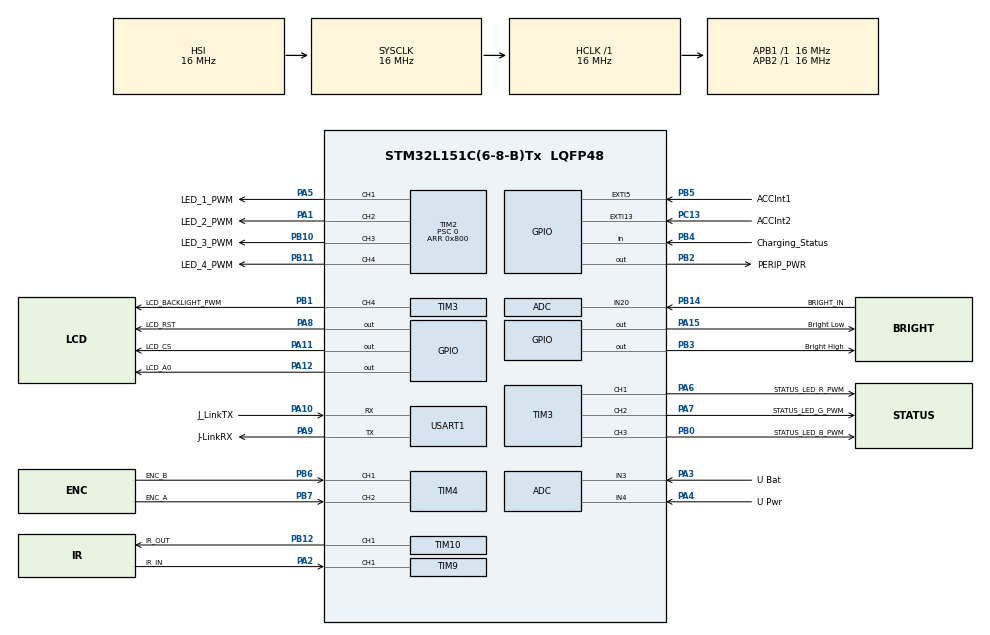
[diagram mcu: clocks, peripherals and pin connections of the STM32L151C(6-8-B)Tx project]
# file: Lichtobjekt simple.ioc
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Mcu.Family=STM32L1
PB10.GPIO_Speed=GPIO_SPEED_FREQ_MEDIUM
Dma.ADC.0.Mode=DMA_CIRCULAR
PA10.GPIO_PuPd=GPIO_PULLDOWN
ADC.Rank-0\#ChannelRegularConversion=1
PB14.GPIO_Label=BRIGHT_IN
PA14.GPIO_Label=SWCLK
Dma.ADC.0.Priority=DMA_PRIORITY_LOW
ADC.ScanConvMode=ADC_SCAN_ENABLE
PA6.GPIO_Label=STATUS_LED_R_PWM
PB0.GPIO_Label=STATUS_LED_B_PWM
PB6.GPIO_Label=ENC_B
TIM2.Channel-PWM\ Generation2\ CH2=TIM_CHANNEL_2
PB13.GPIO_Label=LCD_SCK
PB11.Signal=S_TIM2_CH4
PB13.Signal=SPI2_SCK
PB15.Signal=SPI2_MOSI
TIM3.Channel-PWM\ Generation4\ CH4=TIM_CHANNEL_4
RCC.SYSCLKSource=RCC_SYSCLKSOURCE_HSI
ProjectManager.StackSize=0x400
PB11.GPIO_Speed=GPIO_SPEED_FREQ_MEDIUM
PC13-WKUP2.GPIO_PuPd=GPIO_PULLUP
ADC.NbrOfConversion=1
NVIC.TIM11_IRQn=true\:0\:0\:false\:false\:true\:true\:true
PA15.GPIO_Label=Bright Low
PA12.Signal=GPIO_Output
PA4.Mode=IN4
Dma.ADC.0.PeriphInc=DMA_PINC_DISABLE
RCC.HCLKFreq_Value=16000000
PC13-WKUP2.GPIO_Label=ACCInt2
RCC.APB2TimFreq_Value=16000000
PB6.Signal=S_TIM4_CH1
VP_TIM10_VS_ClockSourceINT.Mode=Internal
RCC.AHBFreq_Value=16000000
Dma.ADC.0.Direction=DMA_PERIPH_TO_MEMORY
TIM3.Channel-PWM\ Generation1\ CH1=TIM_CHANNEL_1
RCC.HSE_VALUE=24000000
PC13-WKUP2.Signal=GPXTI13
PB2.Signal=GPIO_Output
TIM10.Channel=TIM_CHANNEL_1
RCC.RTCClockSelection=RCC_RTCCLKSOURCE_LSE
PB12.GPIO_Label=IR_OUT
PA6.GPIO_PuPd=GPIO_NOPULL
RCC.RTCClockSelectionVirtual=RCC_RTCCLKSOURCE_LSE
PA14.Mode=Serial_Wire
PB14.Mode=IN20
PB1.GPIO_Label=LCD_BACKLIGHT_PWM
PA10.GPIO_Label=J_LinkTX
SH.S_TIM4_CH2.0=TIM4_CH2,Encoder_Interface
PB7.Signal=S_TIM4_CH2
PA8.Signal=GPIO_Output
TIM2.Channel-PWM\ Generation1\ CH1=TIM_CHANNEL_1
SH.S_TIM3_CH1.0=TIM3_CH1,PWM Generation1 CH1
TIM6.Period=3556
Dma.ADC.0.MemInc=DMA_MINC_ENABLE
PB7.GPIO_Label=ENC_A
Mcu.Package=LQFP48
PB9.Signal=I2C1_SDA
TIM2.Prescaler=0
PB1.Signal=S_TIM3_CH4
PA6.Signal=S_TIM3_CH1
SH.S_TIM10_CH1.0=TIM10_CH1,PWM Generation1 CH1
PA2.GPIO_Label=IR_IN
Dma.ADC.0.Instance=DMA1_Channel1
PA10.Signal=USART1_RX
ADC.Channel-0\#ChannelRegularConversion=ADC_CHANNEL_TEMPSENSOR
PA15.Signal=GPIO_Output
Dma.ADC.0.MemDataAlignment=DMA_MDATAALIGN_HALFWORD
PB5.GPIO_Label=ACCInt1
SH.S_TIM4_CH1.0=TIM4_CH1,Encoder_Interface
RCC.APB1TimFreq_Value=16000000
NVIC.USART1_IRQn=true\:0\:0\:false\:false\:true\:true\:true
Dma.Request0=ADC
PA4.GPIO_Label=U Pwr
PA8.GPIO_Speed=GPIO_SPEED_FREQ_LOW
PA8.PinState=GPIO_PIN_RESET
PB4.Signal=GPIO_Input
PA3.Signal=ADC_IN3
PB3.GPIO_Label=Bright High
RCC.MSI_VALUE=2097000
PB7.GPIO_PuPd=GPIO_PULLUP
TIM2.Channel-PWM\ Generation4\ CH4=TIM_CHANNEL_4
PC13-WKUP2.GPIO_ModeDefaultEXTI=GPIO_MODE_IT_RISING
PA10.Mode=Asynchronous
VP_ADC_TempSens_Input.Mode=IN-TempSens
PA9.GPIO_Label=J-LinkRX
PB6.GPIO_PuPd=GPIO_PULLUP
VP_TIM6_VS_ClockSourceINT.Mode=Enable_Timer
PB11.GPIO_Label=LED_4_PWM
PA11.GPIO_Label=LCD_CS
ADC.LowPowerAutoWait=ADC_AUTOWAIT_DISABLE
TIM11.Prescaler=100
PC14-OSC32_IN.Signal=RCC_OSC32_IN
SH.S_TIM3_CH3.0=TIM3_CH3,PWM Generation3 CH3
PA12.GPIO_Label=LCD_A0
VP_TIM11_VS_ClockSourceINT.Mode=Internal
Dma.ADC.0.PeriphDataAlignment=DMA_PDATAALIGN_HALFWORD
NVIC.TIM6_IRQn=true\:0\:0\:false\:false\:true\:true\:true
PA3.Mode=IN3
PA13.Signal=SYS_JTMS-SWDIO
TIM3.Channel-PWM\ Generation3\ CH3=TIM_CHANNEL_3
SH.S_TIM2_CH2.0=TIM2_CH2,PWM Generation2 CH2
PA9.Mode=Asynchronous
PA8.GPIO_Label=LCD_RST
ProjectManager.TargetToolchain=STM32CubeIDE
PB10.GPIO_Label=LED_3_PWM
PA9.Signal=USART1_TX
PA0-WKUP1.Signal=SYS_WKUP1
ADC.NbrOfConversionFlag=1
PC15-OSC32_OUT.Signal=RCC_OSC32_OUT
PA1.Signal=S_TIM2_CH2
PA7.GPIO_PuPd=GPIO_NOPULL
PB12.GPIO_Speed=GPIO_SPEED_FREQ_HIGH
PB10.Signal=S_TIM2_CH3
PB14.Signal=ADC_IN20
PA5.Signal=S_TIM2_CH1_ETR
SH.S_TIM3_CH2.0=TIM3_CH2,PWM Generation2 CH2
board=Lichtobjekt
RCC.VCOOutputFreq_Value=48000000
VP_TIM9_VS_ClockSourceINT.Mode=Internal
TIM11.Period=1600
RCC.APB2Freq_Value=16000000
PB4.GPIO_Label=Charging_Status
PB15.GPIO_Label=LCD_MOSI
VP_TIM2_VS_ClockSourceINT.Mode=Internal
SH.S_TIM2_CH3.0=TIM2_CH3,PWM Generation3 CH3
PA1.GPIO_Speed=GPIO_SPEED_FREQ_MEDIUM
PA1.GPIO_Label=LED_2_PWM
SH.S_TIM9_CH1.0=TIM9_CH1,PWM_Input_1
TIM2.Channel-PWM\ Generation3\ CH3=TIM_CHANNEL_3
PA0-WKUP1.Mode=SYS_WakeUp0
TIM2.Period=0x800
PA13.Mode=Serial_Wire
Mcu.Name=STM32L151C(6-8-B)Tx
PA2.Signal=S_TIM9_CH1
PA13.GPIO_Label=SWDIO
PB3.Signal=GPIO_Output
PA4.Signal=ADC_IN4
RCC.SYSCLKFreq_VALUE=16000000
PB5.Signal=GPXTI5
PA7.GPIO_Label=STATUS_LED_G_PWM
PA5.GPIO_Label=LED_1_PWM
PB5.GPIO_PuPd=GPIO_PULLUP
USART1.VirtualMode=VM_ASYNC
PA11.Signal=GPIO_Output
SH.S_TIM2_CH1_ETR.0=TIM2_CH1,PWM Generation1 CH1
PA14.Signal=SYS_JTCK-SWCLK
PB2.GPIO_Label=PERIP_PWR
PA0-WKUP1.GPIO_Label=ENC_SW
ProjectManager.HeapSize=0x200
SH.S_TIM2_CH4.0=TIM2_CH4,PWM Generation4 CH4
RCC.HSI_VALUE=16000000
PA5.GPIO_Speed=GPIO_SPEED_FREQ_MEDIUM
NVIC.PriorityGroup=NVIC_PRIORITYGROUP_4
TIM3.Channel-PWM\ Generation2\ CH2=TIM_CHANNEL_2
PB8.Signal=I2C1_SCL
TIM2.AutoReloadPreload=TIM_AUTORELOAD_PRELOAD_ENABLE
ADC.SamplingTime-0\#ChannelRegularConversion=ADC_SAMPLETIME_4CYCLES
NVIC.DMA1_Channel1_IRQn=true\:0\:0\:false\:false\:true\:false\:true
PB12.GPIO_PuPd=GPIO_PULLDOWN
RCC.APB1Freq_Value=16000000
PB0.Signal=S_TIM3_CH3
ADC.ContinuousConvMode=ENABLE
PB12.Signal=S_TIM10_CH1
PA3.GPIO_Label=U Bat
SH.S_TIM3_CH4.0=TIM3_CH4,PWM Generation4 CH4
PA7.Signal=S_TIM3_CH2

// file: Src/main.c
/* USER CODE BEGIN Header */
/**
  ******************************************************************************
  * @file           : main.c
  * @brief          : Main program body
  ******************************************************************************
  * @attention
  *
  * <h2><center>&copy; Copyright (c) 2019 STMicroelectronics.
  * All rights reserved.</center></h2>
  *
  * This software component is licensed by ST under BSD 3-Clause license,
  * the "License"; You may not use this file except in compliance with the
  * License. You may obtain a copy of the License at:
  *                        opensource.org/licenses/BSD-3-Clause
  *
  ******************************************************************************
  */
/* USER CODE END Header */
#include "main.h"

ADC_HandleTypeDef hadc;
DMA_HandleTypeDef hdma_adc;

TIM_HandleTypeDef htim2;
TIM_HandleTypeDef htim3;
TIM_HandleTypeDef htim4;
TIM_HandleTypeDef htim6;
TIM_HandleTypeDef htim9;
TIM_HandleTypeDef htim10;
TIM_HandleTypeDef htim11;

UART_HandleTypeDef huart1;

/* USER CODE BEGIN PV */
bool volatile TimerFlag;
/* USER CODE END PV */

void SystemClock_Config(void);
static void MX_GPIO_Init(void);
static void MX_DMA_Init(void);
static void MX_TIM2_Init(void);
static void MX_TIM3_Init(void);
static void MX_TIM4_Init(void);
static void MX_TIM9_Init(void);
static void MX_TIM10_Init(void);
static void MX_ADC_Init(void);
static void MX_USART1_UART_Init(void);
static void MX_TIM6_Init(void);
static void MX_TIM11_Init(void);

int main(void)
{

  /* MCU Configuration--------------------------------------------------------*/

  /* Reset of all peripherals, Initializes the Flash interface and the Systick. */
  HAL_Init();

  /* Configure the system clock */
  SystemClock_Config();

  /* Initialize all configured peripherals */
  MX_GPIO_Init();
  MX_DMA_Init();
  MX_TIM2_Init();
  MX_TIM3_Init();
  MX_TIM4_Init();
  MX_TIM9_Init();
  MX_TIM10_Init();
  MX_ADC_Init();
  MX_USART1_UART_Init();
  MX_TIM6_Init();
  MX_TIM11_Init();
  /* USER CODE BEGIN 2 */
//load RAM values from EEPROM
//	ReceiverMode=Read_EEPROM(EEAddr_ReceiverMode);
//	SenderMode=Read_EEPROM(EEAddr_SenderMode);
  RC5Addr=0; //Read_EEPROM(EEAddr_RC5Addr);
  HAL_GPIO_WritePin(PERIP_PWR_GPIO_Port, PERIP_PWR_Pin, GPIO_PIN_SET);

  PWM_Init(&htim2);
  Init_SerialLogger(&huart1);
  Status_LED_Init(&htim3);
  Encoder_Init(&htim4);
  Init_MainMenu();

  /*##-1- Start the TIM Base generation in interrupt mode ####################*/
  HAL_TIM_Base_Start_IT(&htim6);  //RC5 decoder
  HAL_TIM_Base_Start_IT(&htim11); //main control loop

  log_serial_P("Bereit\r\n");
  SwAllLightOn();
  /* USER CODE END 2 */

  /* Infinite loop */
  /* USER CODE BEGIN WHILE */
  while (1)
  {
	if(TimerFlag)
	{
		TimerFlag=0;
		Keys(!HAL_GPIO_ReadPin(ENC_SW_GPIO_Port, ENC_SW_Pin));
		Encoder();
       	MainMenu();
	}
    HAL_PWR_EnterSLEEPMode(PWR_MAINREGULATOR_ON, PWR_SLEEPENTRY_WFI);
  }
    /* USER CODE END WHILE */

}

void SystemClock_Config(void)
{
  RCC_OscInitTypeDef RCC_OscInitStruct = {0};
  RCC_ClkInitTypeDef RCC_ClkInitStruct = {0};

  /** Configure the main internal regulator output voltage
  */
  __HAL_PWR_VOLTAGESCALING_CONFIG(PWR_REGULATOR_VOLTAGE_SCALE1);
  /** Initializes the RCC Oscillators according to the specified parameters
  * in the RCC_OscInitTypeDef structure.
  */
  RCC_OscInitStruct.OscillatorType = RCC_OSCILLATORTYPE_HSI;
  RCC_OscInitStruct.HSIState = RCC_HSI_ON;
  RCC_OscInitStruct.HSICalibrationValue = RCC_HSICALIBRATION_DEFAULT;
  RCC_OscInitStruct.PLL.PLLState = RCC_PLL_NONE;
  if (HAL_RCC_OscConfig(&RCC_OscInitStruct) != HAL_OK)
  {
    Error_Handler();
  }
  /** Initializes the CPU, AHB and APB buses clocks
  */
  RCC_ClkInitStruct.ClockType = RCC_CLOCKTYPE_HCLK|RCC_CLOCKTYPE_SYSCLK
                              |RCC_CLOCKTYPE_PCLK1|RCC_CLOCKTYPE_PCLK2;
  RCC_ClkInitStruct.SYSCLKSource = RCC_SYSCLKSOURCE_HSI;
  RCC_ClkInitStruct.AHBCLKDivider = RCC_SYSCLK_DIV1;
  RCC_ClkInitStruct.APB1CLKDivider = RCC_HCLK_DIV1;
  RCC_ClkInitStruct.APB2CLKDivider = RCC_HCLK_DIV1;

  if (HAL_RCC_ClockConfig(&RCC_ClkInitStruct, FLASH_LATENCY_0) != HAL_OK)
  {
    Error_Handler();
  }
}

static void MX_ADC_Init(void)
{

  ADC_ChannelConfTypeDef sConfig = {0};

  /** Configure the global features of the ADC (Clock, Resolution, Data Alignment and number of conversion)
  */
  hadc.Instance = ADC1;
  hadc.Init.ClockPrescaler = ADC_CLOCK_ASYNC_DIV1;
  hadc.Init.Resolution = ADC_RESOLUTION_12B;
  hadc.Init.DataAlign = ADC_DATAALIGN_RIGHT;
  hadc.Init.ScanConvMode = ADC_SCAN_ENABLE;
  hadc.Init.EOCSelection = ADC_EOC_SEQ_CONV;
  hadc.Init.LowPowerAutoWait = ADC_AUTOWAIT_DISABLE;
  hadc.Init.LowPowerAutoPowerOff = ADC_AUTOPOWEROFF_DISABLE;
  hadc.Init.ChannelsBank = ADC_CHANNELS_BANK_A;
  hadc.Init.ContinuousConvMode = ENABLE;
  hadc.Init.NbrOfConversion = 1;
  hadc.Init.DiscontinuousConvMode = DISABLE;
  hadc.Init.ExternalTrigConv = ADC_SOFTWARE_START;
  hadc.Init.ExternalTrigConvEdge = ADC_EXTERNALTRIGCONVEDGE_NONE;
  hadc.Init.DMAContinuousRequests = DISABLE;
  if (HAL_ADC_Init(&hadc) != HAL_OK)
  {
    Error_Handler();
  }
  /** Configure for the selected ADC regular channel its corresponding rank in the sequencer and its sample time.
  */
  sConfig.Channel = ADC_CHANNEL_TEMPSENSOR;
  sConfig.Rank = ADC_REGULAR_RANK_1;
  sConfig.SamplingTime = ADC_SAMPLETIME_4CYCLES;
  if (HAL_ADC_ConfigChannel(&hadc, &sConfig) != HAL_OK)
  {
    Error_Handler();
  }

}

static void MX_TIM2_Init(void)
{

  TIM_ClockConfigTypeDef sClockSourceConfig = {0};
  TIM_MasterConfigTypeDef sMasterConfig = {0};
  TIM_OC_InitTypeDef sConfigOC = {0};

  htim2.Instance = TIM2;
  htim2.Init.Prescaler = 0;
  htim2.Init.CounterMode = TIM_COUNTERMODE_UP;
  htim2.Init.Period = 0x800;
  htim2.Init.ClockDivision = TIM_CLOCKDIVISION_DIV1;
  htim2.Init.AutoReloadPreload = TIM_AUTORELOAD_PRELOAD_ENABLE;
  if (HAL_TIM_Base_Init(&htim2) != HAL_OK)
  {
    Error_Handler();
  }
  sClockSourceConfig.ClockSource = TIM_CLOCKSOURCE_INTERNAL;
  if (HAL_TIM_ConfigClockSource(&htim2, &sClockSourceConfig) != HAL_OK)
  {
    Error_Handler();
  }
  if (HAL_TIM_PWM_Init(&htim2) != HAL_OK)
  {
    Error_Handler();
  }
  sMasterConfig.MasterOutputTrigger = TIM_TRGO_RESET;
  sMasterConfig.MasterSlaveMode = TIM_MASTERSLAVEMODE_DISABLE;
  if (HAL_TIMEx_MasterConfigSynchronization(&htim2, &sMasterConfig) != HAL_OK)
  {
    Error_Handler();
  }
  sConfigOC.OCMode = TIM_OCMODE_PWM1;
  sConfigOC.Pulse = 0;
  sConfigOC.OCPolarity = TIM_OCPOLARITY_HIGH;
  sConfigOC.OCFastMode = TIM_OCFAST_DISABLE;
  if (HAL_TIM_PWM_ConfigChannel(&htim2, &sConfigOC, TIM_CHANNEL_1) != HAL_OK)
  {
    Error_Handler();
  }
  if (HAL_TIM_PWM_ConfigChannel(&htim2, &sConfigOC, TIM_CHANNEL_2) != HAL_OK)
  {
    Error_Handler();
  }
  if (HAL_TIM_PWM_ConfigChannel(&htim2, &sConfigOC, TIM_CHANNEL_3) != HAL_OK)
  {
    Error_Handler();
  }
  if (HAL_TIM_PWM_ConfigChannel(&htim2, &sConfigOC, TIM_CHANNEL_4) != HAL_OK)
  {
    Error_Handler();
  }
  HAL_TIM_MspPostInit(&htim2);

}

static void MX_TIM3_Init(void)
{

  TIM_MasterConfigTypeDef sMasterConfig = {0};
  TIM_OC_InitTypeDef sConfigOC = {0};

  htim3.Instance = TIM3;
  htim3.Init.Prescaler = 0;
  htim3.Init.CounterMode = TIM_COUNTERMODE_UP;
  htim3.Init.Period = 65535;
  htim3.Init.ClockDivision = TIM_CLOCKDIVISION_DIV1;
  htim3.Init.AutoReloadPreload = TIM_AUTORELOAD_PRELOAD_DISABLE;
  if (HAL_TIM_PWM_Init(&htim3) != HAL_OK)
  {
    Error_Handler();
  }
  sMasterConfig.MasterOutputTrigger = TIM_TRGO_RESET;
  sMasterConfig.MasterSlaveMode = TIM_MASTERSLAVEMODE_DISABLE;
  if (HAL_TIMEx_MasterConfigSynchronization(&htim3, &sMasterConfig) != HAL_OK)
  {
    Error_Handler();
  }
  sConfigOC.OCMode = TIM_OCMODE_PWM1;
  sConfigOC.Pulse = 0;
  sConfigOC.OCPolarity = TIM_OCPOLARITY_HIGH;
  sConfigOC.OCFastMode = TIM_OCFAST_DISABLE;
  if (HAL_TIM_PWM_ConfigChannel(&htim3, &sConfigOC, TIM_CHANNEL_1) != HAL_OK)
  {
    Error_Handler();
  }
  if (HAL_TIM_PWM_ConfigChannel(&htim3, &sConfigOC, TIM_CHANNEL_2) != HAL_OK)
  {
    Error_Handler();
  }
  if (HAL_TIM_PWM_ConfigChannel(&htim3, &sConfigOC, TIM_CHANNEL_3) != HAL_OK)
  {
    Error_Handler();
  }
  if (HAL_TIM_PWM_ConfigChannel(&htim3, &sConfigOC, TIM_CHANNEL_4) != HAL_OK)
  {
    Error_Handler();
  }
  HAL_TIM_MspPostInit(&htim3);

}

static void MX_TIM4_Init(void)
{

  TIM_Encoder_InitTypeDef sConfig = {0};
  TIM_MasterConfigTypeDef sMasterConfig = {0};

  htim4.Instance = TIM4;
  htim4.Init.Prescaler = 0;
  htim4.Init.CounterMode = TIM_COUNTERMODE_UP;
  htim4.Init.Period = 65535;
  htim4.Init.ClockDivision = TIM_CLOCKDIVISION_DIV1;
  htim4.Init.AutoReloadPreload = TIM_AUTORELOAD_PRELOAD_DISABLE;
  sConfig.EncoderMode = TIM_ENCODERMODE_TI1;
  sConfig.IC1Polarity = TIM_ICPOLARITY_RISING;
  sConfig.IC1Selection = TIM_ICSELECTION_DIRECTTI;
  sConfig.IC1Prescaler = TIM_ICPSC_DIV1;
  sConfig.IC1Filter = 0;
  sConfig.IC2Polarity = TIM_ICPOLARITY_RISING;
  sConfig.IC2Selection = TIM_ICSELECTION_DIRECTTI;
  sConfig.IC2Prescaler = TIM_ICPSC_DIV1;
  sConfig.IC2Filter = 0;
  if (HAL_TIM_Encoder_Init(&htim4, &sConfig) != HAL_OK)
  {
    Error_Handler();
  }
  sMasterConfig.MasterOutputTrigger = TIM_TRGO_RESET;
  sMasterConfig.MasterSlaveMode = TIM_MASTERSLAVEMODE_DISABLE;
  if (HAL_TIMEx_MasterConfigSynchronization(&htim4, &sMasterConfig) != HAL_OK)
  {
    Error_Handler();
  }

}

static void MX_TIM6_Init(void)
{

  TIM_MasterConfigTypeDef sMasterConfig = {0};

  htim6.Instance = TIM6;
  htim6.Init.Prescaler = 0;
  htim6.Init.CounterMode = TIM_COUNTERMODE_UP;
  htim6.Init.Period = 3556;
  htim6.Init.AutoReloadPreload = TIM_AUTORELOAD_PRELOAD_DISABLE;
  if (HAL_TIM_Base_Init(&htim6) != HAL_OK)
  {
    Error_Handler();
  }
  sMasterConfig.MasterOutputTrigger = TIM_TRGO_RESET;
  sMasterConfig.MasterSlaveMode = TIM_MASTERSLAVEMODE_DISABLE;
  if (HAL_TIMEx_MasterConfigSynchronization(&htim6, &sMasterConfig) != HAL_OK)
  {
    Error_Handler();
  }

}

static void MX_TIM9_Init(void)
{

  TIM_ClockConfigTypeDef sClockSourceConfig = {0};
  TIM_SlaveConfigTypeDef sSlaveConfig = {0};
  TIM_IC_InitTypeDef sConfigIC = {0};
  TIM_MasterConfigTypeDef sMasterConfig = {0};

  htim9.Instance = TIM9;
  htim9.Init.Prescaler = 0;
  htim9.Init.CounterMode = TIM_COUNTERMODE_UP;
  htim9.Init.Period = 65535;
  htim9.Init.ClockDivision = TIM_CLOCKDIVISION_DIV1;
  htim9.Init.AutoReloadPreload = TIM_AUTORELOAD_PRELOAD_DISABLE;
  if (HAL_TIM_Base_Init(&htim9) != HAL_OK)
  {
    Error_Handler();
  }
  sClockSourceConfig.ClockSource = TIM_CLOCKSOURCE_INTERNAL;
  if (HAL_TIM_ConfigClockSource(&htim9, &sClockSourceConfig) != HAL_OK)
  {
    Error_Handler();
  }
  if (HAL_TIM_IC_Init(&htim9) != HAL_OK)
  {
    Error_Handler();
  }
  sSlaveConfig.SlaveMode = TIM_SLAVEMODE_RESET;
  sSlaveConfig.InputTrigger = TIM_TS_TI1FP1;
  sSlaveConfig.TriggerPolarity = TIM_INPUTCHANNELPOLARITY_RISING;
  sSlaveConfig.TriggerPrescaler = TIM_ICPSC_DIV1;
  sSlaveConfig.TriggerFilter = 0;
  if (HAL_TIM_SlaveConfigSynchro(&htim9, &sSlaveConfig) != HAL_OK)
  {
    Error_Handler();
  }
  sConfigIC.ICPolarity = TIM_INPUTCHANNELPOLARITY_RISING;
  sConfigIC.ICSelection = TIM_ICSELECTION_DIRECTTI;
  sConfigIC.ICPrescaler = TIM_ICPSC_DIV1;
  sConfigIC.ICFilter = 0;
  if (HAL_TIM_IC_ConfigChannel(&htim9, &sConfigIC, TIM_CHANNEL_1) != HAL_OK)
  {
    Error_Handler();
  }
  sConfigIC.ICPolarity = TIM_INPUTCHANNELPOLARITY_FALLING;
  sConfigIC.ICSelection = TIM_ICSELECTION_INDIRECTTI;
  if (HAL_TIM_IC_ConfigChannel(&htim9, &sConfigIC, TIM_CHANNEL_2) != HAL_OK)
  {
    Error_Handler();
  }
  sMasterConfig.MasterOutputTrigger = TIM_TRGO_RESET;
  sMasterConfig.MasterSlaveMode = TIM_MASTERSLAVEMODE_DISABLE;
  if (HAL_TIMEx_MasterConfigSynchronization(&htim9, &sMasterConfig) != HAL_OK)
  {
    Error_Handler();
  }

}

static void MX_TIM10_Init(void)
{

  TIM_ClockConfigTypeDef sClockSourceConfig = {0};
  TIM_OC_InitTypeDef sConfigOC = {0};

  htim10.Instance = TIM10;
  htim10.Init.Prescaler = 0;
  htim10.Init.CounterMode = TIM_COUNTERMODE_UP;
  htim10.Init.Period = 65535;
  htim10.Init.ClockDivision = TIM_CLOCKDIVISION_DIV1;
  htim10.Init.AutoReloadPreload = TIM_AUTORELOAD_PRELOAD_DISABLE;
  if (HAL_TIM_Base_Init(&htim10) != HAL_OK)
  {
    Error_Handler();
  }
  sClockSourceConfig.ClockSource = TIM_CLOCKSOURCE_INTERNAL;
  if (HAL_TIM_ConfigClockSource(&htim10, &sClockSourceConfig) != HAL_OK)
  {
    Error_Handler();
  }
  if (HAL_TIM_PWM_Init(&htim10) != HAL_OK)
  {
    Error_Handler();
  }
  sConfigOC.OCMode = TIM_OCMODE_PWM1;
  sConfigOC.Pulse = 0;
  sConfigOC.OCPolarity = TIM_OCPOLARITY_HIGH;
  sConfigOC.OCFastMode = TIM_OCFAST_DISABLE;
  if (HAL_TIM_PWM_ConfigChannel(&htim10, &sConfigOC, TIM_CHANNEL_1) != HAL_OK)
  {
    Error_Handler();
  }
  HAL_TIM_MspPostInit(&htim10);

}

static void MX_TIM11_Init(void)
{

  TIM_ClockConfigTypeDef sClockSourceConfig = {0};

  htim11.Instance = TIM11;
  htim11.Init.Prescaler = 100;
  htim11.Init.CounterMode = TIM_COUNTERMODE_UP;
  htim11.Init.Period = 1600;
  htim11.Init.ClockDivision = TIM_CLOCKDIVISION_DIV1;
  htim11.Init.AutoReloadPreload = TIM_AUTORELOAD_PRELOAD_DISABLE;
  if (HAL_TIM_Base_Init(&htim11) != HAL_OK)
  {
    Error_Handler();
  }
  sClockSourceConfig.ClockSource = TIM_CLOCKSOURCE_INTERNAL;
  if (HAL_TIM_ConfigClockSource(&htim11, &sClockSourceConfig) != HAL_OK)
  {
    Error_Handler();
  }

}

static void MX_USART1_UART_Init(void)
{

  huart1.Instance = USART1;
  huart1.Init.BaudRate = 115200;
  huart1.Init.WordLength = UART_WORDLENGTH_8B;
  huart1.Init.StopBits = UART_STOPBITS_1;
  huart1.Init.Parity = UART_PARITY_NONE;
  huart1.Init.Mode = UART_MODE_TX_RX;
  huart1.Init.HwFlowCtl = UART_HWCONTROL_NONE;
  huart1.Init.OverSampling = UART_OVERSAMPLING_16;
  if (HAL_UART_Init(&huart1) != HAL_OK)
  {
    Error_Handler();
  }

}

static void MX_DMA_Init(void)
{

  /* DMA controller clock enable */
  __HAL_RCC_DMA1_CLK_ENABLE();

  /* DMA interrupt init */
  /* DMA1_Channel1_IRQn interrupt configuration */
  HAL_NVIC_SetPriority(DMA1_Channel1_IRQn, 0, 0);
  HAL_NVIC_EnableIRQ(DMA1_Channel1_IRQn);

}

static void MX_GPIO_Init(void)
{
  GPIO_InitTypeDef GPIO_InitStruct = {0};

  /* GPIO Ports Clock Enable */
  __HAL_RCC_GPIOC_CLK_ENABLE();
  __HAL_RCC_GPIOA_CLK_ENABLE();
  __HAL_RCC_GPIOB_CLK_ENABLE();

  /*Configure GPIO pin Output Level */
  HAL_GPIO_WritePin(GPIOB, PERIP_PWR_Pin|Bright_High_Pin, GPIO_PIN_RESET);

  /*Configure GPIO pin Output Level */
  HAL_GPIO_WritePin(GPIOA, LCD_RST_Pin|LCD_CS_Pin|LCD_A0_Pin|Bright_Low_Pin, GPIO_PIN_RESET);

  /*Configure GPIO pin : ACCInt2_Pin */
  GPIO_InitStruct.Pin = ACCInt2_Pin;
  GPIO_InitStruct.Mode = GPIO_MODE_IT_RISING;
  GPIO_InitStruct.Pull = GPIO_PULLUP;
  HAL_GPIO_Init(ACCInt2_GPIO_Port, &GPIO_InitStruct);

  /*Configure GPIO pins : PERIP_PWR_Pin Bright_High_Pin */
  GPIO_InitStruct.Pin = PERIP_PWR_Pin|Bright_High_Pin;
  GPIO_InitStruct.Mode = GPIO_MODE_OUTPUT_PP;
  GPIO_InitStruct.Pull = GPIO_NOPULL;
  GPIO_InitStruct.Speed = GPIO_SPEED_FREQ_LOW;
  HAL_GPIO_Init(GPIOB, &GPIO_InitStruct);

  /*Configure GPIO pins : LCD_SCK_Pin LCD_MOSI_Pin */
  GPIO_InitStruct.Pin = LCD_SCK_Pin|LCD_MOSI_Pin;
  GPIO_InitStruct.Mode = GPIO_MODE_AF_PP;
  GPIO_InitStruct.Pull = GPIO_NOPULL;
  GPIO_InitStruct.Speed = GPIO_SPEED_FREQ_VERY_HIGH;
  GPIO_InitStruct.Alternate = GPIO_AF5_SPI2;
  HAL_GPIO_Init(GPIOB, &GPIO_InitStruct);

  /*Configure GPIO pins : LCD_RST_Pin LCD_CS_Pin LCD_A0_Pin Bright_Low_Pin */
  GPIO_InitStruct.Pin = LCD_RST_Pin|LCD_CS_Pin|LCD_A0_Pin|Bright_Low_Pin;
  GPIO_InitStruct.Mode = GPIO_MODE_OUTPUT_PP;
  GPIO_InitStruct.Pull = GPIO_NOPULL;
  GPIO_InitStruct.Speed = GPIO_SPEED_FREQ_LOW;
  HAL_GPIO_Init(GPIOA, &GPIO_InitStruct);

  /*Configure GPIO pin : Charging_Status_Pin */
  GPIO_InitStruct.Pin = Charging_Status_Pin;
  GPIO_InitStruct.Mode = GPIO_MODE_INPUT;
  GPIO_InitStruct.Pull = GPIO_NOPULL;
  HAL_GPIO_Init(Charging_Status_GPIO_Port, &GPIO_InitStruct);

  /*Configure GPIO pin : ACCInt1_Pin */
  GPIO_InitStruct.Pin = ACCInt1_Pin;
  GPIO_InitStruct.Mode = GPIO_MODE_IT_RISING;
  GPIO_InitStruct.Pull = GPIO_PULLUP;
  HAL_GPIO_Init(ACCInt1_GPIO_Port, &GPIO_InitStruct);

  /*Configure GPIO pins : PB8 PB9 */
  GPIO_InitStruct.Pin = GPIO_PIN_8|GPIO_PIN_9;
  GPIO_InitStruct.Mode = GPIO_MODE_AF_OD;
  GPIO_InitStruct.Pull = GPIO_PULLUP;
  GPIO_InitStruct.Speed = GPIO_SPEED_FREQ_VERY_HIGH;
  GPIO_InitStruct.Alternate = GPIO_AF4_I2C1;
  HAL_GPIO_Init(GPIOB, &GPIO_InitStruct);

}

/* USER CODE BEGIN 4 */

  /*
  * @brief  Period elapsed callback in non blocking mode
  * @param  htim: TIM handle
  * @retval None
  */
void HAL_TIM_PeriodElapsedCallback(TIM_HandleTypeDef *htim)
{
  if (htim->Instance == htim6.Instance)
  {
	  RC5SignalSampling(HAL_GPIO_ReadPin(IR_IN_GPIO_Port, IR_IN_Pin));
  }
  else if (htim->Instance == htim11.Instance)
  {
  	//set flag
   	TimerFlag = true;
  }
}
/* USER CODE END 4 */

void Error_Handler(void)
{
}

/************************ (C) COPYRIGHT STMicroelectronics *****END OF FILE****/
